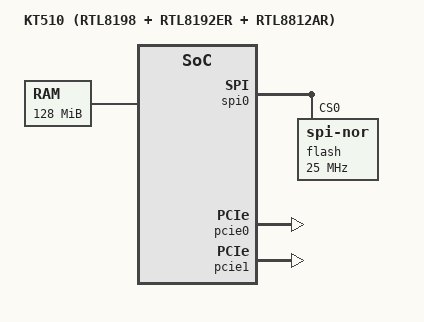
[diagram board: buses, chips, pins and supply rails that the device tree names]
// SPDX-License-Identifier: GPL-2.0
/* KT510 build verification: keep DTS in the legacy MIPS dts root. */
/dts-v1/;

#include "rtl819x.dtsi"

/ {
	model = "KT510 (RTL8198 + RTL8192ER + RTL8812AR)";
	compatible = "realtek,rtl8198-kt510", "realtek,rtl819x-soc";

	memory@0 {
		device_type = "memory";
		reg = <0x00000000 0x08000000>; /* 128 MiB */
	};

	chosen {
		bootargs = "console=ttyS0,115200";
	};

	soc {
		gpio0: gpio-controller@3500 {
			status = "okay";
		};

		gpio1: gpio-controller@351c {
			status = "okay";
		};

		spi0: spi@1200 {
			status = "okay";

			flash@0 {
				compatible = "jedec,spi-nor";
				reg = <0>;
				spi-max-frequency = <25000000>;
			};
		};

		pcie0: pcie-controller@18b00000 {
			status = "okay";
		};

		pcie1: pcie-controller@18b20000 {
			status = "okay";
		};
	};
};
